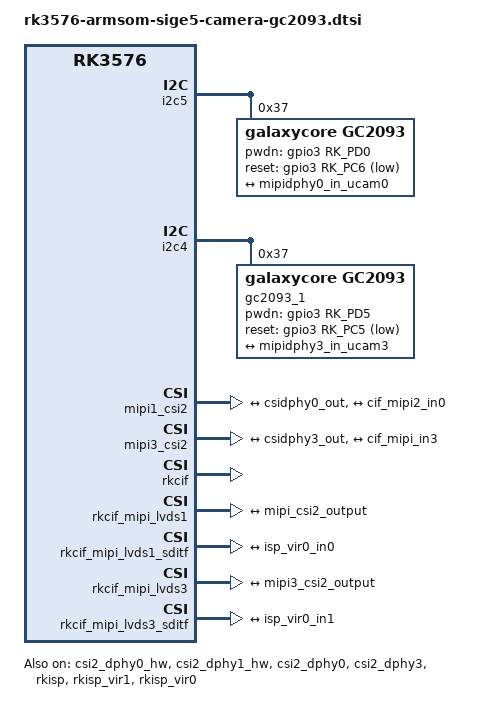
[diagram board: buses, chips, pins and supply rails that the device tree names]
&i2c5 {//J12
	status = "okay";
	pinctrl-names = "default";
	pinctrl-0 = <&i2c5m3_xfer>;
	gc2093: gc2093@37 {
		status = "okay";
		compatible = "galaxycore,gc2093";
		reg = <0x37>;
		clocks = <&cru CLK_MIPI_CAMERAOUT_M1>;
		clock-names = "xvclk";
		pinctrl-names = "default";
		pinctrl-0 = <&cam_clk1m0_clk1>;
		pwdn-gpios = <&gpio3 RK_PD0 GPIO_ACTIVE_HIGH>;
		reset-gpios = <&gpio3 RK_PC6 GPIO_ACTIVE_LOW>;
		rockchip,camera-module-index = <0>;
		rockchip,camera-module-facing = "back";
		rockchip,camera-module-name = "SIDA209300461";
		rockchip,camera-module-lens-name = "60IRC-F20";//gc2093_SIDA209300461_60IRC-F20
		port {
			sc450ai_out: endpoint {
				remote-endpoint = <&mipidphy0_in_ucam0>;
				data-lanes = <1 2 3 4>;
			};
		};
	};
};

&i2c4 {//J25
	status = "okay";
	pinctrl-names = "default";
	pinctrl-0 = <&i2c4m3_xfer>;
	gc2093_1: gc2093_1@37 {
		status = "okay";
		compatible = "galaxycore,gc2093";
		reg = <0x37>;
		clocks = <&cru CLK_MIPI_CAMERAOUT_M2>;
		clock-names = "xvclk";
		pinctrl-names = "rockchip,camera_default";
		pinctrl-0 = <&cam_clkout>;
		pwdn-gpios = <&gpio3 RK_PD5 GPIO_ACTIVE_HIGH>;
		reset-gpios = <&gpio3 RK_PC5 GPIO_ACTIVE_LOW>;
		rockchip,camera-module-index = <1>;
		rockchip,camera-module-facing = "back";
		rockchip,camera-module-name = "SIDA209300461";
		rockchip,camera-module-lens-name = "60IRC-F20";//gc2093_SIDA209300461_60IRC-F20
		port {
			ov13850_out1: endpoint {
				remote-endpoint = <&mipidphy3_in_ucam3>;
				data-lanes = <1 2 3 4>;
			};
		};
	};

};

&csi2_dphy0_hw {
	status = "okay";
};

&csi2_dphy1_hw {
	status = "okay";
};

&csi2_dphy0 {
	status = "okay";

	ports {
		#address-cells = <1>;
		#size-cells = <0>;

		port@0 {
			reg = <0>;
			#address-cells = <1>;
			#size-cells = <0>;

			mipidphy0_in_ucam0: endpoint@1 {
				reg = <1>;
				remote-endpoint = <&sc450ai_out>;
				data-lanes = <1 2 3 4>;
			};

		};

		port@1 {
			reg = <1>;
			#address-cells = <1>;
			#size-cells = <0>;

			csidphy0_out: endpoint@0 {
				reg = <0>;
				remote-endpoint = <&mipi2_csi2_input>;
			};
		};
	};
};

&csi2_dphy3 {
	status = "okay";

	ports {
		#address-cells = <1>;
		#size-cells = <0>;

		port@0 {
			reg = <0>;
			#address-cells = <1>;
			#size-cells = <0>;

			mipidphy3_in_ucam3: endpoint@1 {
				reg = <1>;
				remote-endpoint = <&ov13850_out1>;
				data-lanes = <1 2 3 4>;
			};

		};

		port@1 {
			reg = <1>;
			#address-cells = <1>;
			#size-cells = <0>;

			csidphy3_out: endpoint@0 {
				reg = <0>;
				remote-endpoint = <&mipi4_csi2_input>;
			};
		};
	};
};

&mipi1_csi2 {
	status = "okay";

	ports {
		#address-cells = <1>;
		#size-cells = <0>;

		port@0 {
			reg = <0>;
			#address-cells = <1>;
			#size-cells = <0>;

			mipi2_csi2_input: endpoint@1 {
				reg = <1>;
				remote-endpoint = <&csidphy0_out>;
			};
		};

		port@1 {
			reg = <1>;
			#address-cells = <1>;
			#size-cells = <0>;

			mipi_csi2_output: endpoint@0 {
				reg = <0>;
				remote-endpoint = <&cif_mipi2_in0>;
			};
		};
	};
};

&mipi3_csi2 {
	status = "okay";

	ports {
		#address-cells = <1>;
		#size-cells = <0>;

		port@0 {
			reg = <0>;
			#address-cells = <1>;
			#size-cells = <0>;

			mipi4_csi2_input: endpoint@1 {
				reg = <1>;
				remote-endpoint = <&csidphy3_out>;
			};
		};

		port@1 {
			reg = <1>;
			#address-cells = <1>;
			#size-cells = <0>;

			mipi3_csi2_output: endpoint@0 {
				reg = <0>;
				remote-endpoint = <&cif_mipi_in3>;
			};
		};
	};
};

&rkcif {
	status = "okay";
};

&rkcif_mipi_lvds1 {
	status = "okay";

	port {
		cif_mipi2_in0: endpoint {
			remote-endpoint = <&mipi_csi2_output>;
		};
	};
};

&rkcif_mipi_lvds1_sditf {
	status = "okay";

	port {
		mipi_lvds1_sditf: endpoint {
			remote-endpoint = <&isp_vir0_in0>;
		};
	};
};

&rkcif_mipi_lvds3 {
	status = "okay";

	port {
		cif_mipi_in3: endpoint {
			remote-endpoint = <&mipi3_csi2_output>;
		};
	};
};

&rkcif_mipi_lvds3_sditf {
	status = "okay";

	port {
		mipi_lvds3_sditf: endpoint {
			remote-endpoint = <&isp_vir0_in1>;
		};
	};
};

&rkcif_mmu {
	status = "okay";
};

&rkisp {
	status = "okay";
};

&rkisp_mmu {
	status = "okay";
};

&rkisp_vir1 {
	status = "okay";

	port {
		#address-cells = <1>;
		#size-cells = <0>;

		isp_vir0_in0: endpoint@0 {
			reg = <0>;
			remote-endpoint = <&mipi_lvds1_sditf>;
		};
	};
};

&rkisp_vir0 {
	status = "okay";

	port {
		#address-cells = <1>;
		#size-cells = <0>;

		isp_vir0_in1: endpoint@0 {
			reg = <0>;
			remote-endpoint = <&mipi_lvds3_sditf>;
		};
	};
};

&pinctrl {
	cam {
		cam_clkout: cam-clkout {
			rockchip,pins =
				/* cam_clkout */
				<3 RK_PA2 1 &pcfg_pull_none>;
		};
    };
};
